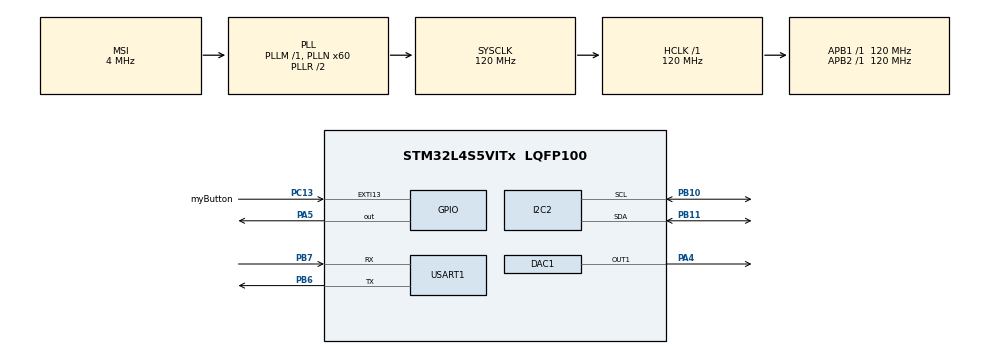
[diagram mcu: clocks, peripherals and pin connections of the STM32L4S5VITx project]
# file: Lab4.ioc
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Dma.DAC1_CH1.0.Direction=DMA_MEMORY_TO_PERIPH
Dma.DAC1_CH1.0.EventEnable=DISABLE
Dma.DAC1_CH1.0.Instance=DMA1_Channel1
Dma.DAC1_CH1.0.MemDataAlignment=DMA_MDATAALIGN_WORD
Dma.DAC1_CH1.0.MemInc=DMA_MINC_ENABLE
Dma.DAC1_CH1.0.Mode=DMA_NORMAL
Dma.DAC1_CH1.0.PeriphDataAlignment=DMA_PDATAALIGN_WORD
Dma.DAC1_CH1.0.PeriphInc=DMA_PINC_DISABLE
Dma.DAC1_CH1.0.Polarity=HAL_DMAMUX_REQUEST_GEN_RISING
Dma.DAC1_CH1.0.Priority=DMA_PRIORITY_LOW
Dma.DAC1_CH1.0.RequestNumber=1
Dma.DAC1_CH1.0.SignalID=NONE
Dma.DAC1_CH1.0.SyncEnable=ENABLE
Dma.DAC1_CH1.0.SyncPolarity=HAL_DMAMUX_SYNC_RISING
Dma.DAC1_CH1.0.SyncRequestNumber=1
Dma.DAC1_CH1.0.SyncSignalID=NONE
Dma.Request0=DAC1_CH1
FREERTOS.Tasks01=defaultTask,0,512,StartDefaultTask,Default,NULL,Dynamic,NULL,NULL;myTask02,-3,512,StartTask02,Default,NULL,Dynamic,NULL,NULL;myTask03,-3,512,StartTask03,Default,NULL,Dynamic,NULL,NULL;Process,0,128,StartTask04,Default,NULL,Dynamic,NULL,NULL
FREERTOS.configTOTAL_HEAP_SIZE=5000
FREERTOS.configUSE_NEWLIB_REENTRANT=0
I2C2.Timing=0x30A175AB
Mcu.Family=STM32L4
Mcu.Name=STM32L4S5VITx
Mcu.Package=LQFP100
NVIC.DMA1_Channel1_IRQn=true\:5\:0\:false\:false\:true\:true\:false\:true\:true
NVIC.DMAMUX1_OVR_IRQn=true\:0\:0\:false\:false\:true\:false\:false\:true\:true
NVIC.EXTI15_10_IRQn=true\:5\:0\:false\:false\:true\:true\:true\:true\:true
NVIC.PriorityGroup=NVIC_PRIORITYGROUP_4
NVIC.TIM2_IRQn=true\:5\:0\:false\:false\:true\:true\:true\:true\:true
NVIC.TIM6_DAC_IRQn=true\:5\:0\:false\:false\:true\:true\:false\:true\:true
NVIC.TimeBase=TIM6_DAC_IRQn
NVIC.TimeBaseIP=TIM6
PA4.Signal=COMP_DAC11_group
PA5.Signal=GPIO_Output
PB10.Mode=I2C
PB10.Signal=I2C2_SCL
PB11.Mode=I2C
PB11.Signal=I2C2_SDA
PB6.Mode=Asynchronous
PB6.Signal=USART1_TX
PB7.Mode=Asynchronous
PB7.Signal=USART1_RX
PC13.GPIO_Label=myButton
PC13.Signal=GPXTI13
ProjectManager.HeapSize=0x200
ProjectManager.StackSize=0x400
ProjectManager.TargetToolchain=STM32CubeIDE
RCC.ADCFreq_Value=48000000
RCC.AHBFreq_Value=120000000
RCC.APB1Freq_Value=120000000
RCC.APB1TimFreq_Value=120000000
RCC.APB2Freq_Value=120000000
RCC.APB2TimFreq_Value=120000000
RCC.CortexFreq_Value=120000000
RCC.HCLKFreq_Value=120000000
RCC.HSE_VALUE=8000000
RCC.HSI48_VALUE=48000000
RCC.HSI_VALUE=16000000
RCC.LSE_VALUE=32768
RCC.MSI_VALUE=4000000
RCC.PLLN=60
RCC.PLLSAI1N=24
RCC.SYSCLKFreq_VALUE=120000000
RCC.SYSCLKSource=RCC_SYSCLKSOURCE_PLLCLK
RCC.USBFreq_Value=48000000
RCC.VCOOutputFreq_Value=240000000
SH.COMP_DAC11_group.0=DAC1_OUT1,DAC_OUT1
TIM2.Period=1500
TIM2.TIM_MasterOutputTrigger=TIM_TRGO_UPDATE
USART1.VirtualMode-Asynchronous=VM_ASYNC
VP_FREERTOS_VS_CMSIS_V1.Mode=CMSIS_V1
VP_SYS_VS_tim6.Mode=TIM6
VP_TIM2_VS_ClockSourceINT.Mode=Internal
board=B-L4S5I-IOT01A

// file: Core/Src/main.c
/* USER CODE BEGIN Header */
/**
  ******************************************************************************
  * @file           : main.c
  * @brief          : Main program body
  ******************************************************************************
  * @attention
  *
  * Copyright (c) 2024 STMicroelectronics.
  * All rights reserved.
  *
  * This software is licensed under terms that can be found in the LICENSE file
  * in the root directory of this software component.
  * If no LICENSE file comes with this software, it is provided AS-IS.
  *
  ******************************************************************************
  */
/* USER CODE END Header */
#include "main.h"
#include "cmsis_os.h"

/* USER CODE BEGIN Includes */
#include <stdio.h>
#include <string.h>
#include "stm32l4s5i_iot01_tsensor.h"
#include "stm32l4s5i_iot01_hsensor.h"
#include "stm32l4s5i_iot01_psensor.h"
#include "stm32l4s5i_iot01_magneto.h"
#include "stm32l4s5i_iot01_accelero.h"
#include "stm32l4s5i_iot01_gyro.h"

#include <stdio.h>
#include <stdlib.h>
#include <stdbool.h>
#include <unistd.h>
#include <math.h>
#include "arm_math.h"
/* USER CODE END Includes */

/* USER CODE BEGIN PD */

#define MAX_DATA_POINTS 20
#define SAMPLE_RATE_SECONDS 2

/* USER CODE END PD */

DAC_HandleTypeDef hdac1;
DMA_HandleTypeDef hdma_dac1_ch1;

I2C_HandleTypeDef hi2c2;

TIM_HandleTypeDef htim2;

UART_HandleTypeDef huart1;

osThreadId SensorReadHandle;
osThreadId EnqueueDataHandle;
osThreadId HandleAnomalyHandle;
osThreadId ProcessingDataHandle;
/* USER CODE BEGIN PV */

#define HIGH_PRESSURE 1022.0
#define LOW_PRESSURE 1000.0
#define HIGH_TEMP 35.0
#define LOW_TEMP 0.0
#define HIGH_HUMIDITY 55.0
#define LOW_HUMIDITY 40.0

uint8_t buttonStatus = 0;
uint32_t C6[38];
TimerInterrupt = 0;

float pressure = 0;
float humidity = 0;
float gyro[3] = {};
float temperature = 0;
float gyroscope = 0;
char buf[150];
int data;

/* USER CODE END PV */

void SystemClock_Config(void);
static void MX_GPIO_Init(void);
static void MX_DMA_Init(void);
static void MX_DAC1_Init(void);
static void MX_TIM2_Init(void);
static void MX_I2C2_Init(void);
static void MX_USART1_UART_Init(void);
void SensorReadTask(void const * argument);
void EnqueueDataTask(void const * argument);
void HandleAnomalyTask(void const * argument);
void ProcessingDataTask(void const * argument);

/* USER CODE BEGIN PFP */

void enqueueValue(float value, float *queue, int *front, int *rear);
void dequeueValue(float *queue, int *front, int *rear);
bool isQueueFull(int front, int rear);
bool isQueueEmpty(int front);
bool isRisingTrend(float *queue, int front, int rear);
bool isFallingTrend(float *queue, int front, int rear);
bool isFluctuatingTrend(float *queue, int front, int rear);
float calculateCovariance(const float *data, int n);
void raiseAlarm(const char *message);

/* USER CODE END PFP */

/* USER CODE BEGIN 0 */
int frontPressure = -1, rearPressure = -1;
int frontTemperature = -1, rearTemperature = -1;
int frontHumidity = -1, rearHumidity = -1;
int frontGyroscopeX = -1, rearGyroscopeX = -1;
int frontGyroscopeY = -1, rearGyroscopeY = -1;
int frontGyroscopeZ = -1, rearGyroscopeZ = -1;

float pressureQueue[MAX_DATA_POINTS];
float temperatureQueue[MAX_DATA_POINTS];
float humidityQueue[MAX_DATA_POINTS];
float gyroscopeQueueX[MAX_DATA_POINTS];
float gyroscopeQueueY[MAX_DATA_POINTS];
float gyroscopeQueueZ[MAX_DATA_POINTS];

void C6gen(){
	float n = 38;

	for (int i=0; i<n; i++){
		float mod = (float) (i)/n;
		float pi = 3.1415926535897932;

		float input = arm_sin_f32(2*pi*mod);

		input = input +1;
		input = input * 127.5; // 2/3 of 255/2 range

		uint32_t out;
		out = (uint32_t)input;

		C6[i]=out;

	}
}

void enqueueValue(float value, float *queue, int *front, int *rear) {
    if (isQueueFull(*front, *rear)) {
        dequeueValue(queue, front, rear); // Remove oldest value to make room
    }
    if (isQueueEmpty(*front)) {
        *front = *rear = 0;
    } else {
        *rear = (*rear + 1) % MAX_DATA_POINTS;
    }
    queue[*rear] = value;
}
void dequeueValue(float *queue, int *front, int *rear) {
    if (isQueueEmpty(*front)) {
        printf("Queue underflow! No data to remove.\n");
        return;
    }
    if (*front == *rear) {
        // Single element in the queue
        *front = *rear = -1;
    } else {
        *front = (*front + 1) % MAX_DATA_POINTS;
    }
}
bool isQueueFull(int front, int rear) {
    return (rear + 1) % MAX_DATA_POINTS == front;
}
bool isQueueEmpty(int front) {
    return front == -1;
}
bool isRisingTrend(float *queue, int front, int rear) {
    float fieldData[MAX_DATA_POINTS];
    int count = 0;

    for (int i = front; ; i = (i + 1) % MAX_DATA_POINTS) {
        fieldData[count++] = queue[i];
        if (i == rear) break;
    }
    return calculateCovariance(fieldData, count) > 0.5;
}
bool isFallingTrend(float *queue, int front, int rear) {
    float fieldData[MAX_DATA_POINTS];
    int count = 0;

    for (int i = front; ; i = (i + 1) % MAX_DATA_POINTS) {
        fieldData[count++] = queue[i];
        if (i == rear) break;
    }
    return calculateCovariance(fieldData, count) < -0.5;

}
bool isFluctuatingTrend(float *queue, int front, int rear) {
    float fieldData[MAX_DATA_POINTS];
    int count = 0;

    for (int i = front; ; i = (i + 1) % MAX_DATA_POINTS) {
        fieldData[count++] = queue[i];
        if (i == rear) break;
    }
    float covariance = calculateCovariance(fieldData, count);
    return fabs(covariance) > 0.5;

}
void raiseAlarm(const char *message) {
	memset(buf, '\0', 100);
    	sprintf(buf, "ALARM: %s\n", message);
    	HAL_UART_Transmit(&huart1, (unsigned char *) buf, 100, 100);
    	HAL_UART_Transmit(&huart1, (unsigned char *) "\33[2K\r", 8, 100);
}
float calculateCovariance(const float *data, int size) {
    if (size <= 1) {
        return 0.0f;
    }

    float mean = 0.0f;
    float meanOfSquares = 0.0f;

    for (int i = 0; i < size; i++) {
        mean += data[i];
        meanOfSquares += data[i] * data[i];
    }

    mean /= size;

    return (meanOfSquares / size) - (mean * mean);
}

/* USER CODE END 0 */

int main(void)
{

  /* MCU Configuration--------------------------------------------------------*/

  /* Reset of all peripherals, Initializes the Flash interface and the Systick. */
  HAL_Init();

  /* Configure the system clock */
  SystemClock_Config();

  /* Initialize all configured peripherals */
  MX_GPIO_Init();
  MX_DMA_Init();
  MX_DAC1_Init();
  MX_TIM2_Init();
  MX_I2C2_Init();
  MX_USART1_UART_Init();
  /* USER CODE BEGIN 2 */
  HAL_UART_Init(&huart1);
  HAL_TIM_Base_Start_IT(&htim2);

  /* USER CODE END 2 */

  /* Create the thread(s) */
  /* definition and creation of SensorRead */
  osThreadDef(SensorRead, SensorReadTask, osPriorityLow, 0, 256);
  SensorReadHandle = osThreadCreate(osThread(SensorRead), NULL);

  /* definition and creation of EnqueueData */
  osThreadDef(EnqueueData, EnqueueDataTask, osPriorityNormal, 0, 256);
  EnqueueDataHandle = osThreadCreate(osThread(EnqueueData), NULL);

  /* definition and creation of HandleAnomaly */
  osThreadDef(HandleAnomaly, HandleAnomalyTask, osPriorityNormal, 0, 256);
  HandleAnomalyHandle = osThreadCreate(osThread(HandleAnomaly), NULL);

  /* definition and creation of ProcessingData */
  osThreadDef(ProcessingData, ProcessingDataTask, osPriorityHigh, 0, 256);
  ProcessingDataHandle = osThreadCreate(osThread(ProcessingData), NULL);

  /* Start scheduler */
  osKernelStart();

  /* We should never get here as control is now taken by the scheduler */

  /* Infinite loop */
  while (1)
  {

  }
}

void SystemClock_Config(void)
{
  RCC_OscInitTypeDef RCC_OscInitStruct = {0};
  RCC_ClkInitTypeDef RCC_ClkInitStruct = {0};

  /** Configure the main internal regulator output voltage
  */
  if (HAL_PWREx_ControlVoltageScaling(PWR_REGULATOR_VOLTAGE_SCALE1_BOOST) != HAL_OK)
  {
    Error_Handler();
  }

  /** Initializes the RCC Oscillators according to the specified parameters
  * in the RCC_OscInitTypeDef structure.
  */
  RCC_OscInitStruct.OscillatorType = RCC_OSCILLATORTYPE_MSI;
  RCC_OscInitStruct.MSIState = RCC_MSI_ON;
  RCC_OscInitStruct.MSICalibrationValue = 0;
  RCC_OscInitStruct.MSIClockRange = RCC_MSIRANGE_6;
  RCC_OscInitStruct.PLL.PLLState = RCC_PLL_ON;
  RCC_OscInitStruct.PLL.PLLSource = RCC_PLLSOURCE_MSI;
  RCC_OscInitStruct.PLL.PLLM = 1;
  RCC_OscInitStruct.PLL.PLLN = 60;
  RCC_OscInitStruct.PLL.PLLP = RCC_PLLP_DIV2;
  RCC_OscInitStruct.PLL.PLLQ = RCC_PLLQ_DIV2;
  RCC_OscInitStruct.PLL.PLLR = RCC_PLLR_DIV2;
  if (HAL_RCC_OscConfig(&RCC_OscInitStruct) != HAL_OK)
  {
    Error_Handler();
  }

  /** Initializes the CPU, AHB and APB buses clocks
  */
  RCC_ClkInitStruct.ClockType = RCC_CLOCKTYPE_HCLK|RCC_CLOCKTYPE_SYSCLK
                              |RCC_CLOCKTYPE_PCLK1|RCC_CLOCKTYPE_PCLK2;
  RCC_ClkInitStruct.SYSCLKSource = RCC_SYSCLKSOURCE_PLLCLK;
  RCC_ClkInitStruct.AHBCLKDivider = RCC_SYSCLK_DIV1;
  RCC_ClkInitStruct.APB1CLKDivider = RCC_HCLK_DIV1;
  RCC_ClkInitStruct.APB2CLKDivider = RCC_HCLK_DIV1;

  if (HAL_RCC_ClockConfig(&RCC_ClkInitStruct, FLASH_LATENCY_5) != HAL_OK)
  {
    Error_Handler();
  }
}

static void MX_DAC1_Init(void)
{

  DAC_ChannelConfTypeDef sConfig = {0};

  /** DAC Initialization
  */
  hdac1.Instance = DAC1;
  if (HAL_DAC_Init(&hdac1) != HAL_OK)
  {
    Error_Handler();
  }

  /** DAC channel OUT1 config
  */
  sConfig.DAC_SampleAndHold = DAC_SAMPLEANDHOLD_DISABLE;
  sConfig.DAC_Trigger = DAC_TRIGGER_T2_TRGO;
  sConfig.DAC_HighFrequency = DAC_HIGH_FREQUENCY_INTERFACE_MODE_ABOVE_80MHZ;
  sConfig.DAC_OutputBuffer = DAC_OUTPUTBUFFER_ENABLE;
  sConfig.DAC_ConnectOnChipPeripheral = DAC_CHIPCONNECT_DISABLE;
  sConfig.DAC_UserTrimming = DAC_TRIMMING_FACTORY;
  if (HAL_DAC_ConfigChannel(&hdac1, &sConfig, DAC_CHANNEL_1) != HAL_OK)
  {
    Error_Handler();
  }

}

static void MX_I2C2_Init(void)
{

  hi2c2.Instance = I2C2;
  hi2c2.Init.Timing = 0x30A175AB;
  hi2c2.Init.OwnAddress1 = 0;
  hi2c2.Init.AddressingMode = I2C_ADDRESSINGMODE_7BIT;
  hi2c2.Init.DualAddressMode = I2C_DUALADDRESS_DISABLE;
  hi2c2.Init.OwnAddress2 = 0;
  hi2c2.Init.OwnAddress2Masks = I2C_OA2_NOMASK;
  hi2c2.Init.GeneralCallMode = I2C_GENERALCALL_DISABLE;
  hi2c2.Init.NoStretchMode = I2C_NOSTRETCH_DISABLE;
  if (HAL_I2C_Init(&hi2c2) != HAL_OK)
  {
    Error_Handler();
  }

  /** Configure Analogue filter
  */
  if (HAL_I2CEx_ConfigAnalogFilter(&hi2c2, I2C_ANALOGFILTER_ENABLE) != HAL_OK)
  {
    Error_Handler();
  }

  /** Configure Digital filter
  */
  if (HAL_I2CEx_ConfigDigitalFilter(&hi2c2, 0) != HAL_OK)
  {
    Error_Handler();
  }

}

static void MX_TIM2_Init(void)
{

  TIM_ClockConfigTypeDef sClockSourceConfig = {0};
  TIM_MasterConfigTypeDef sMasterConfig = {0};

  htim2.Instance = TIM2;
  htim2.Init.Prescaler = 0;
  htim2.Init.CounterMode = TIM_COUNTERMODE_UP;
  htim2.Init.Period = 1500;
  htim2.Init.ClockDivision = TIM_CLOCKDIVISION_DIV1;
  htim2.Init.AutoReloadPreload = TIM_AUTORELOAD_PRELOAD_DISABLE;
  if (HAL_TIM_Base_Init(&htim2) != HAL_OK)
  {
    Error_Handler();
  }
  sClockSourceConfig.ClockSource = TIM_CLOCKSOURCE_INTERNAL;
  if (HAL_TIM_ConfigClockSource(&htim2, &sClockSourceConfig) != HAL_OK)
  {
    Error_Handler();
  }
  sMasterConfig.MasterOutputTrigger = TIM_TRGO_UPDATE;
  sMasterConfig.MasterSlaveMode = TIM_MASTERSLAVEMODE_DISABLE;
  if (HAL_TIMEx_MasterConfigSynchronization(&htim2, &sMasterConfig) != HAL_OK)
  {
    Error_Handler();
  }

}

static void MX_USART1_UART_Init(void)
{

  huart1.Instance = USART1;
  huart1.Init.BaudRate = 115200;
  huart1.Init.WordLength = UART_WORDLENGTH_8B;
  huart1.Init.StopBits = UART_STOPBITS_1;
  huart1.Init.Parity = UART_PARITY_NONE;
  huart1.Init.Mode = UART_MODE_TX_RX;
  huart1.Init.HwFlowCtl = UART_HWCONTROL_NONE;
  huart1.Init.OverSampling = UART_OVERSAMPLING_16;
  huart1.Init.OneBitSampling = UART_ONE_BIT_SAMPLE_DISABLE;
  huart1.Init.ClockPrescaler = UART_PRESCALER_DIV1;
  huart1.AdvancedInit.AdvFeatureInit = UART_ADVFEATURE_NO_INIT;
  if (HAL_UART_Init(&huart1) != HAL_OK)
  {
    Error_Handler();
  }
  if (HAL_UARTEx_SetTxFifoThreshold(&huart1, UART_TXFIFO_THRESHOLD_1_8) != HAL_OK)
  {
    Error_Handler();
  }
  if (HAL_UARTEx_SetRxFifoThreshold(&huart1, UART_RXFIFO_THRESHOLD_1_8) != HAL_OK)
  {
    Error_Handler();
  }
  if (HAL_UARTEx_DisableFifoMode(&huart1) != HAL_OK)
  {
    Error_Handler();
  }

}

static void MX_DMA_Init(void)
{

  /* DMA controller clock enable */
  __HAL_RCC_DMAMUX1_CLK_ENABLE();
  __HAL_RCC_DMA1_CLK_ENABLE();

  /* DMA interrupt init */
  /* DMA1_Channel1_IRQn interrupt configuration */
  HAL_NVIC_SetPriority(DMA1_Channel1_IRQn, 5, 0);
  HAL_NVIC_EnableIRQ(DMA1_Channel1_IRQn);

}

static void MX_GPIO_Init(void)
{
  GPIO_InitTypeDef GPIO_InitStruct = {0};

  /* GPIO Ports Clock Enable */
  __HAL_RCC_GPIOC_CLK_ENABLE();
  __HAL_RCC_GPIOA_CLK_ENABLE();
  __HAL_RCC_GPIOB_CLK_ENABLE();

  /*Configure GPIO pin : myButton_Pin */
  GPIO_InitStruct.Pin = myButton_Pin;
  GPIO_InitStruct.Mode = GPIO_MODE_IT_RISING;
  GPIO_InitStruct.Pull = GPIO_NOPULL;
  HAL_GPIO_Init(myButton_GPIO_Port, &GPIO_InitStruct);

  /* EXTI interrupt init*/
  HAL_NVIC_SetPriority(EXTI15_10_IRQn, 5, 0);
  HAL_NVIC_EnableIRQ(EXTI15_10_IRQn);

}

/* USER CODE BEGIN 4 */

void HAL_GPIO_EXTI_Callback(uint16_t GPIO_Pin){
	if(GPIO_Pin == GPIO_PIN_13){
		  HAL_DAC_Stop_DMA(&hdac1, DAC1_CHANNEL_1);

	}
}

/* USER CODE END 4 */

void SensorReadTask(void const * argument)
{
  /* USER CODE BEGIN 5 */
	BSP_TSENSOR_Init();
	BSP_PSENSOR_Init();
	BSP_HSENSOR_Init();
	BSP_MAGNETO_Init();
	BSP_ACCELERO_Init();
	BSP_GYRO_Init();
  /* Infinite loop */
  for(;;)
  {
    osDelay(500);
    pressure = BSP_PSENSOR_ReadPressure();
    humidity = BSP_HSENSOR_ReadHumidity();
    BSP_GYRO_GetXYZ(gyro);
    temperature = BSP_TSENSOR_ReadTemp();
    gyroscope = (gyro[0]+gyro[1]+gyro[2])/300;
    data = sprintf(buf, "pressure = %2.d , humidity = %2.d , temperature = %2.d, gyro x= %2.d y = %2.d z = %2.d \r\n", (int)pressure, (int)humidity, (int)temperature, (int)gyro[0], (int)gyro[1], (int)gyro[2]);
	HAL_UART_Transmit(&huart1, (unsigned char *) buf, 150, 100);
	HAL_UART_Transmit(&huart1, (unsigned char *) "\33[2K\r", 8, 100);
  }
  /* USER CODE END 5 */
}

void EnqueueDataTask(void const * argument)
{
  /* USER CODE BEGIN EnqueueDataTask */
  /* Infinite loop */
  for(;;)
  {
    osDelay(500);
    enqueueValue(pressure, pressureQueue, &frontPressure, &rearPressure);
    enqueueValue(temperature, temperatureQueue, &frontTemperature, &rearTemperature);
    enqueueValue(humidity, humidityQueue, &frontHumidity, &rearHumidity);
    enqueueValue(gyro[0]/100, gyroscopeQueueX, &frontGyroscopeX, &rearGyroscopeX);
    enqueueValue(gyro[1]/100, gyroscopeQueueY, &frontGyroscopeY, &rearGyroscopeY);
    enqueueValue(gyro[2]/100, gyroscopeQueueZ, &frontGyroscopeZ, &rearGyroscopeZ);
  }
  /* USER CODE END EnqueueDataTask */
}

void HandleAnomalyTask(void const * argument)
{
  /* USER CODE BEGIN HandleAnomalyTask */
  /* Infinite loop */
  for(;;)
  {
    osDelay(500);
    C6gen();
    if (!isQueueEmpty(frontPressure) && !isQueueEmpty(frontHumidity) &&
        !isQueueEmpty(frontTemperature) && !isQueueEmpty(frontGyroscopeX)) {

        bool fallingPressure = isFallingTrend(pressureQueue, frontPressure, rearPressure);
        bool risingHumidity = isRisingTrend(humidityQueue, frontHumidity, rearHumidity);
        bool fluctuatingTemp = isFluctuatingTrend(temperatureQueue, frontTemperature, rearTemperature);
        bool strongWinds = isFluctuatingTrend(gyroscopeQueueX, frontGyroscopeX, rearGyroscopeX)||isFluctuatingTrend(gyroscopeQueueY, frontGyroscopeY, rearGyroscopeY)||isFluctuatingTrend(gyroscopeQueueZ, frontGyroscopeZ, rearGyroscopeZ);

        if (fallingPressure && risingHumidity && fluctuatingTemp) {
            raiseAlarm("Thunderstorm detected!");
			//HAL_DAC_Start_DMA(&hdac1, DAC1_CHANNEL_1, C6, 38, DAC_ALIGN_8B_R);
        } else if (fallingPressure && risingHumidity && strongWinds) {
            raiseAlarm("Hurricane/Cyclone detected!");
			//HAL_DAC_Start_DMA(&hdac1, DAC1_CHANNEL_1, C6, 38, DAC_ALIGN_8B_R);
        } else if (fallingPressure && fluctuatingTemp && strongWinds) {
            raiseAlarm("Tornado detected!");
			//HAL_DAC_Start_DMA(&hdac1, DAC1_CHANNEL_1, C6, 38, DAC_ALIGN_8B_R);
        } else if (fluctuatingTemp && isFluctuatingTrend(pressureQueue, frontPressure, rearPressure) &&
                   isFluctuatingTrend(humidityQueue, frontHumidity, rearHumidity)) {
            raiseAlarm("Atmospheric front detected!");
			//HAL_DAC_Start_DMA(&hdac1, DAC1_CHANNEL_1, C6, 38, DAC_ALIGN_8B_R);
        } else if (risingHumidity && temperatureQueue[rearTemperature] > 15.0) {
            raiseAlarm("Fog detected!");
			//HAL_DAC_Start_DMA(&hdac1, DAC1_CHANNEL_1, C6, 38, DAC_ALIGN_8B_R);
        } else if (risingHumidity && temperatureQueue[rearTemperature] <= 0.0) {
            raiseAlarm("Snow detected!");
			//HAL_DAC_Start_DMA(&hdac1, DAC1_CHANNEL_1, C6, 38, DAC_ALIGN_8B_R);
        } else if (risingHumidity && temperatureQueue[rearTemperature] > 0.0) {
            raiseAlarm("Rain detected!");
			//HAL_DAC_Start_DMA(&hdac1, DAC1_CHANNEL_1, C6, 38, DAC_ALIGN_8B_R);
        } else if (strongWinds) {
            raiseAlarm("Earthquake/Strong winds detected");
			HAL_DAC_Start_DMA(&hdac1, DAC1_CHANNEL_1, C6, 38, DAC_ALIGN_8B_R);
        } else{

        	sprintf(buf, "Nothing to worry about\n");
        	HAL_UART_Transmit(&huart1, (unsigned char *) buf, 150, 100);
        	HAL_UART_Transmit(&huart1, (unsigned char *) "\33[2K\r", 8, 100);
        }
    }
  }
  /* USER CODE END HandleAnomalyTask */
}

void ProcessingDataTask(void const * argument)
{
  /* USER CODE BEGIN ProcessingDataTask */
  /* Infinite loop */
  for(;;)
  {
    osDelay(100);
  }
  /* USER CODE END ProcessingDataTask */
}

void Error_Handler(void)
{
  __disable_irq();
  while (1)
  {
  }
}
